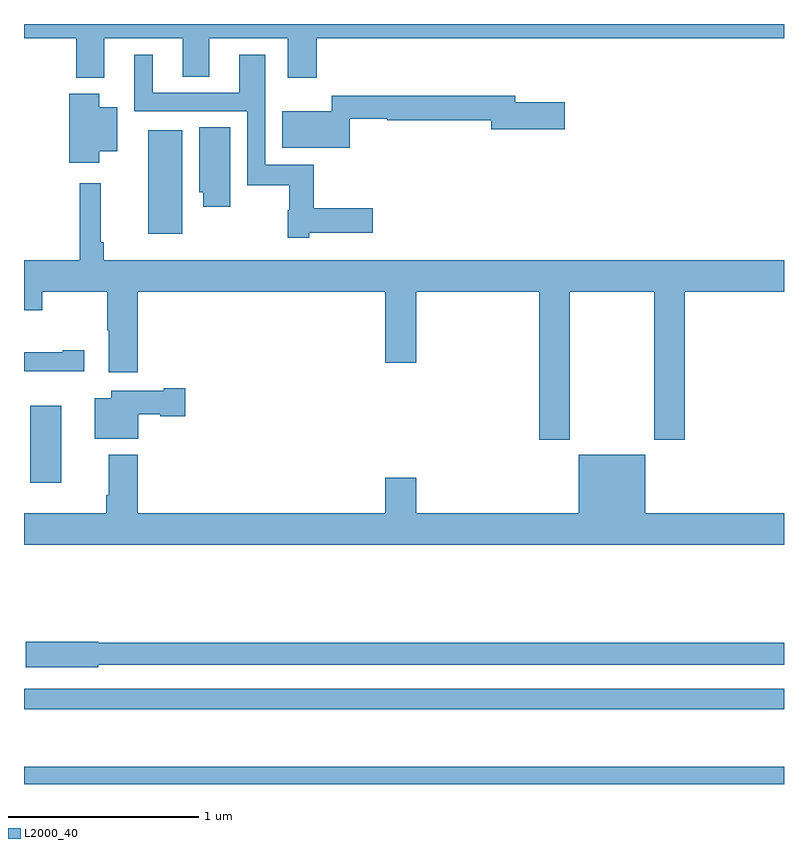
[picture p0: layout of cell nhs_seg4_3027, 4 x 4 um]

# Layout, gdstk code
import gdstk
lib = gdstk.Library(unit=1e-6, precision=1e-09)
def R(c, l, rs):  # rectangles x0, y0, x1, y1
    for r in rs: c.add(gdstk.rectangle(r[:2], r[2:], *l))
def P(c, l, *ps):  # polygons
    for p in ps: c.add(gdstk.Polygon(p, *l))
L2000_40 = (2000, 40)

nhs_seg4_3027 = lib.new_cell('nhs_seg4_3027')
R(nhs_seg4_3027, L2000_40, [(271,788.9,275,788.992), (271,789.294,275,789.402), (271.034,790.485,271.195,790.891), (271.655,791.795,271.834,792.34)])
P(nhs_seg4_3027, L2000_40, [(271.423,792.824),(271.835,792.824),(271.835,792.622),(271.975,792.622),(271.975,792.824),(272.387,792.824),(272.387,792.618),(272.54,792.618),(272.54,792.824),(275,792.824),(275,792.9),(271,792.9),(271,792.824),(271.276,792.824),(271.276,792.618),(271.423,792.618)],
  [(272.502,791.801),(272.836,791.801),(272.836,791.931),(272.525,791.931),(272.525,792.159),(272.271,792.159),(272.271,792.739),(272.132,792.739),(272.132,792.537),(271.678,792.537),(271.678,792.739),(271.58,792.739),(271.58,792.441),(272.175,792.441),(272.175,792.051),(272.397,792.051),(272.397,791.919),(272.387,791.919),(272.387,791.774),(272.502,791.774)],
  [(271.396,792.23),(271.492,792.23),(271.492,792.463),(271.396,792.463),(271.396,792.532),(271.238,792.532),(271.238,792.171),(271.396,792.171)],
  [(272.715,792.402),(272.912,792.402),(272.912,792.394),(273.458,792.394),(273.458,792.347),(273.847,792.347),(273.847,792.489),(273.586,792.489),(273.586,792.523),(272.619,792.523),(272.619,792.442),(272.36,792.442),(272.36,792.248),(272.715,792.248)],
  [(272.086,792.356),(271.922,792.356),(271.922,792.015),(271.943,792.015),(271.943,791.939),(272.086,791.939)],
  [(273.873,791.492),(274.318,791.492),(274.318,790.713),(274.478,790.713),(274.478,791.492),(275,791.492),(275,791.656),(271.421,791.656),(271.421,791.752),(271.404,791.752),(271.404,792.061),(271.293,792.061),(271.293,791.656),(271,791.656),(271,791.393),(271.095,791.393),(271.095,791.492),(271.438,791.492),(271.438,791.288),(271.445,791.288),(271.445,791.067),(271.598,791.067),(271.598,791.492),(272.9,791.492),(272.9,791.118),(273.064,791.118),(273.064,791.492),(273.713,791.492),(273.713,790.713),(273.873,790.713)],
  [(271.318,791.182),(271.205,791.182),(271.205,791.172),(271,791.172),(271,791.073),(271.042,791.073),(271.042,791.072),(271.318,791.072)],
  [(271.6,790.847),(271.716,790.847),(271.716,790.835),(271.849,790.835),(271.849,790.982),(271.736,790.982),(271.736,790.969),(271.46,790.969),(271.46,790.93),(271.373,790.93),(271.373,790.718),(271.6,790.718)],
  [(275,790.324),(274.27,790.324),(274.27,790.633),(273.92,790.633),(273.92,790.324),(273.064,790.324),(273.064,790.513),(272.9,790.513),(272.9,790.324),(271.598,790.324),(271.598,790.633),(271.445,790.633),(271.445,790.42),(271.433,790.42),(271.433,790.324),(271,790.324),(271,790.16),(275,790.16)],
  [(271.392,789.528),(275,789.528),(275,789.644),(271.392,789.644),(271.392,789.65),(271.008,789.65),(271.008,789.515),(271.392,789.515)])

lib.write_gds('nhs_seg4_3027.gds')
